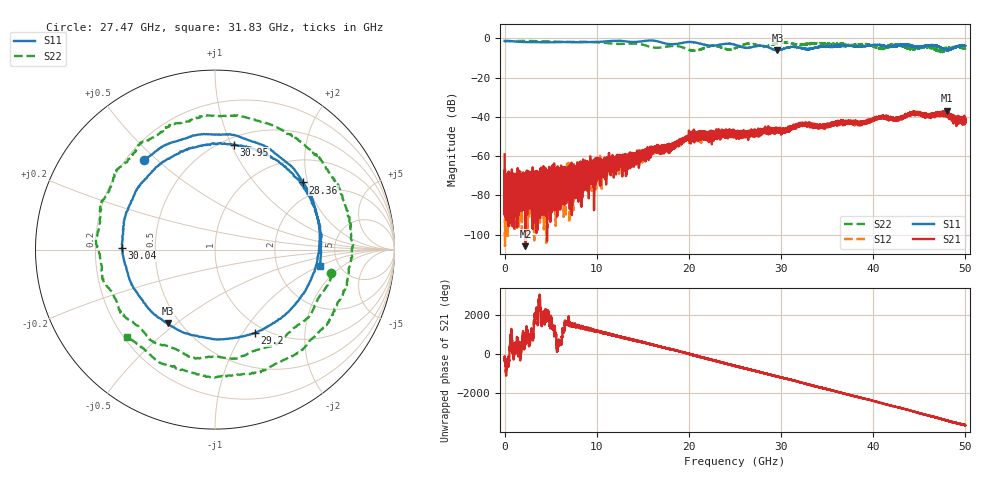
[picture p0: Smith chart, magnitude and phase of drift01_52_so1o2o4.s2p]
!Created with skrf (http://scikit-rf.org).
# Hz S RI R 50.0
!freq ReS11 ImS11 ReS21 ImS21 ReS12 ImS12 ReS22 ImS22
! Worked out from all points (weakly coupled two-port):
!   10001 points, 300 kHz to 50 GHz, reference 50 ohm
!   highest |S21| = -36.95 dB at 48.02 GHz (marker M1); lowest = -105.8 dB at 2.26 GHz (marker M2)
!   lowest |S11| = -6.2 dB at 29.61 GHz (marker M3), VSWR 2.91, Z = 21.6 - j23.3 ohm
!   |S11| at or under -10 dB: nowhere
!   |S22| runs from -7.1 to -1.4 dB; largest |S21 - S12| = 0.0042
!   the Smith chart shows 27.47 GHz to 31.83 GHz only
!   S11 on the Smith chart (normalised r, x): 27.47 GHz: 0.27, +0.45; 28.36 GHz: 1.55, +1.87; 29.2 GHz: 0.90, -1.13; 30.04 GHz: 0.32, +0.01; 30.95 GHz: 0.57, +1.03; 31.83 GHz: 3.59, -0.99
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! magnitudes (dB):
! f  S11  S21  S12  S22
! 300 kHz  -1.3  -59.1  -79.0  -2.1
! 255.3 MHz  -1.4  -83.3  -82.3  -1.4
! 2.26 GHz  -1.9  -105.8  -76.8  -1.4
! 4.955 GHz  -2.1  -71.4  -75.1  -1.6
! 8.335 GHz  -2.0  -85.9  -67.8  -1.8
! 16.67 GHz  -1.7  -57.2  -56.2  -4.8
! 20.76 GHz  -2.3  -50.8  -49.8  -6.3
! 22.59 GHz  -3.9  -51.3  -49.4  -3.8
! 25 GHz  -3.4  -48.2  -48.1  -5.1
! 27.47 GHz  -3.9  -46.7  -47.6  -3.6
! 28.36 GHz  -4.2  -46.6  -46.8  -4.3
! 29.2 GHz  -5.8  -46.0  -46.2  -3.1
! 29.61 GHz  -6.2  -46.7  -47.7  -2.5
! 30.04 GHz  -5.7  -47.2  -47.0  -2.3
! 30.95 GHz  -4.5  -46.5  -46.6  -2.5
! 31.83 GHz  -4.6  -43.9  -44.6  -3.2
! 33.34 GHz  -5.3  -44.4  -44.2  -2.6
! 41.67 GHz  -4.2  -40.9  -40.5  -4.5
! 44.53 GHz  -3.9  -37.7  -38.4  -5.8
! 46.43 GHz  -3.4  -38.7  -38.7  -4.6
! 48.02 GHz  -6.0  -36.9  -38.6  -5.7
! 50 GHz  -3.9  -41.1  -41.3  -5.4
